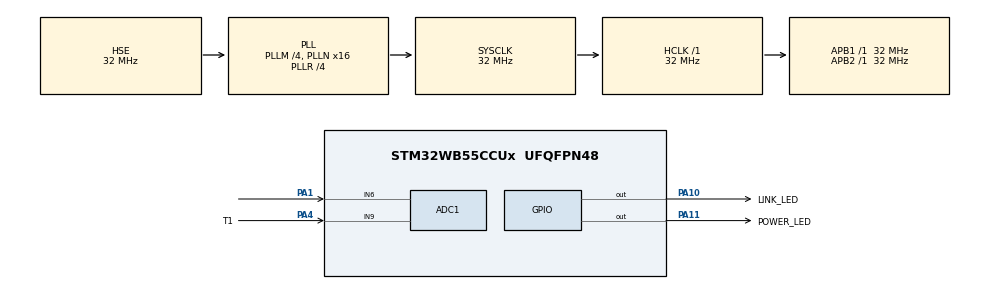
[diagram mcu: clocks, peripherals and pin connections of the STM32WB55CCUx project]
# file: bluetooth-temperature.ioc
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ADC1.Channel-1\#ChannelRegularConversion=ADC_CHANNEL_6
ADC1.Channel-2\#ChannelRegularConversion=ADC_CHANNEL_9
ADC1.ContinuousConvMode=DISABLE
ADC1.DMAContinuousRequests=ENABLE
ADC1.EOCSelection=ADC_EOC_SEQ_CONV
ADC1.ExternalTrigConv=ADC_SOFTWARE_START
ADC1.NbrOfConversion=2
ADC1.NbrOfConversionFlag=1
ADC1.OffsetNumber-1\#ChannelRegularConversion=ADC_OFFSET_NONE
ADC1.OffsetNumber-2\#ChannelRegularConversion=ADC_OFFSET_NONE
ADC1.Overrun=ADC_OVR_DATA_OVERWRITTEN
ADC1.Rank-1\#ChannelRegularConversion=1
ADC1.Rank-2\#ChannelRegularConversion=2
ADC1.SamplingTime-1\#ChannelRegularConversion=ADC_SAMPLETIME_640CYCLES_5
ADC1.SamplingTime-2\#ChannelRegularConversion=ADC_SAMPLETIME_640CYCLES_5
ADC1.master=1
Dma.ADC1.0.Direction=DMA_PERIPH_TO_MEMORY
Dma.ADC1.0.EventEnable=DISABLE
Dma.ADC1.0.Instance=DMA1_Channel1
Dma.ADC1.0.MemDataAlignment=DMA_MDATAALIGN_HALFWORD
Dma.ADC1.0.MemInc=DMA_MINC_ENABLE
Dma.ADC1.0.Mode=DMA_NORMAL
Dma.ADC1.0.PeriphDataAlignment=DMA_PDATAALIGN_HALFWORD
Dma.ADC1.0.PeriphInc=DMA_PINC_DISABLE
Dma.ADC1.0.Polarity=HAL_DMAMUX_REQ_GEN_RISING
Dma.ADC1.0.Priority=DMA_PRIORITY_LOW
Dma.ADC1.0.RequestNumber=1
Dma.ADC1.0.SignalID=NONE
Dma.ADC1.0.SyncEnable=DISABLE
Dma.ADC1.0.SyncPolarity=HAL_DMAMUX_SYNC_NO_EVENT
Dma.ADC1.0.SyncRequestNumber=1
Dma.ADC1.0.SyncSignalID=NONE
Dma.Request0=ADC1
LPTIM1.ClockPrescaler=LPTIM_PRESCALER_DIV32
Mcu.Family=STM32WB
Mcu.Name=STM32WB55CCUx
Mcu.Package=UFQFPN48
NVIC.DMA1_Channel1_IRQn=true\:0\:0\:false\:false\:true\:false\:true
NVIC.HSEM_IRQn=true\:0\:0\:false\:false\:true\:false\:true
NVIC.IPCC_C1_RX_IRQn=true\:0\:0\:false\:false\:true\:true\:true
NVIC.IPCC_C1_TX_IRQn=true\:0\:0\:false\:false\:true\:true\:true
NVIC.LPTIM1_IRQn=true\:0\:0\:false\:false\:true\:true\:true
NVIC.PriorityGroup=NVIC_PRIORITYGROUP_4
OSC_IN.Mode=HSE-External-Oscillator
OSC_IN.Signal=RCC_OSC_IN
OSC_OUT.Mode=HSE-External-Oscillator
OSC_OUT.Signal=RCC_OSC_OUT
PA1.Signal=ADCx_IN6
PA10.GPIO_Label=LINK_LED
PA10.Signal=GPIO_Output
PA11.GPIO_Label=POWER_LED
PA11.Signal=GPIO_Output
PA4.GPIO_Label=T1
PA4.Signal=ADCx_IN9
PA5.GPIO_Label=T2
PA5.Signal=ADCx_IN10
PA6.GPIO_Label=T3
PA6.Signal=ADCx_IN11
PA7.GPIO_Label=T4
PA7.Signal=ADCx_IN12
ProjectManager.HeapSize=0x200
ProjectManager.StackSize=0x400
ProjectManager.TargetToolchain=STM32CubeIDE
RCC.ADCFreq_Value=12000000
RCC.AHBFreq_Value=32000000
RCC.APB1Freq_Value=32000000
RCC.APB1TimFreq_Value=32000000
RCC.APB2Freq_Value=32000000
RCC.APB2TimFreq_Value=32000000
RCC.APB3Freq_Value=16000000
RCC.CortexFreq_Value=32000000
RCC.HCLKFreq_Value=32000000
RCC.HSE_VALUE=32000000
RCC.HSI48_VALUE=48000000
RCC.HSI_VALUE=16000000
RCC.LPTIM1CLockSelection=RCC_LPTIM1CLKSOURCE_LSI
RCC.LSE_VALUE=32768
RCC.PLLM=RCC_PLLM_DIV4
RCC.PLLN=16
RCC.PLLR=RCC_PLLR_DIV4
RCC.PLLSAI1N=12
RCC.PLLSAI1R=RCC_PLLR_DIV8
RCC.PLLSourceVirtual=RCC_PLLSOURCE_HSE
RCC.SMPSCLockSelectionVirtual=RCC_SMPSCLKSOURCE_HSE
RCC.SYSCLKFreq_VALUE=32000000
RCC.SYSCLKSource=RCC_SYSCLKSOURCE_PLLCLK
RCC.USBFreq_Value=48000000
RCC.VCOOutputFreq_Value=128000000
RF1.Mode=RF1_Activate
RF1.Signal=RF_RF1
SH.ADCx_IN10.0=ADC1_IN10
SH.ADCx_IN11.0=ADC1_IN11
SH.ADCx_IN12.0=ADC1_IN12
SH.ADCx_IN6.0=ADC1_IN6,IN6-Single-Ended
SH.ADCx_IN9.0=ADC1_IN9,IN9-Single-Ended
STM32_WPAN.BLE_APPLICATION_TYPE=BLE_SERVER_PROFILE
STM32_WPAN.BLE_CFG_SVC_MAX_NBR_CB=1
STM32_WPAN.BLE_STACK=FULL
STM32_WPAN.BT_SIG_BEACON=CFG_EDDYSTONE_TLM_BEACON_TYPE
STM32_WPAN.BT_SIG_HEALTH_THERMOMETER_SENSOR=Disabled
STM32_WPAN.CFG_ADV_BD_ADDRESS=0x7257acd87a6c
STM32_WPAN.CFG_BLE_LSE_SOURCE=1
STM32_WPAN.CFG_DEBUGGER_SUPPORTED=0
STM32_WPAN.CFG_LPM_SUPPORTED=1
STM32_WPAN.CFG_USE_SMPS=1
STM32_WPAN.CUSTOM_P2P_SERVER=Disabled
STM32_WPAN.CUSTOM_TEMPLATE=Disabled
STM32_WPAN.L2CAP_REQUEST_NEW_CONN_PARAM=1
STM32_WPAN.LOCAL_NAME=AWTMP04
STM32_WPAN.LOCAL_NAME_FORMATTED=,'A','W','T','M','P','0','4'
VP_HSEM_VS_HSEM.Mode=HSEM_Activate
VP_IPCC_VS_IPCC.Mode=IPCC_Activate
VP_LPTIM1_VS_LPTIM_counterModeInternalClock.Mode=Counts__internal_clock_event_00
VP_RTC_VS_RTC_Activate.Mode=RTC_Enabled
VP_SEQUENCER_VS_SEQUENCER.Mode=SEQUENCER_Enabled
VP_STM32_WPAN_VS_BLE_HOST.Mode=STM32_WPAN_Enabled
VP_TINY_LPM_VS_TINY_LPM.Mode=TINY_LPM_Enabled
board=custom

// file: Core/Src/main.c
/* USER CODE BEGIN Header */
/**
 ******************************************************************************
 * @file           : main.c
 * @brief          : Main program body
 ******************************************************************************
 * @attention
 *
 * <h2><center>&copy; Copyright (c) 2021 STMicroelectronics.
 * All rights reserved.</center></h2>
 *
 * This software component is licensed by ST under Ultimate Liberty license
 * SLA0044, the "License"; You may not use this file except in compliance with
 * the License. You may obtain a copy of the License at:
 *                             www.st.com/SLA0044
 *
 ******************************************************************************
 */
/* USER CODE END Header */
#include "main.h"

/* USER CODE BEGIN Includes */
#include "stm32_seq.h"
#include "otp.h"
/* USER CODE END Includes */

ADC_HandleTypeDef hadc1;
DMA_HandleTypeDef hdma_adc1;

IPCC_HandleTypeDef hipcc;

LPTIM_HandleTypeDef hlptim1;

RTC_HandleTypeDef hrtc;

/* USER CODE BEGIN PV */

const char *PHYSICAL_WEB_URL = "andybrown.me.uk";

/* USER CODE END PV */

void SystemClock_Config(void);
static void MX_GPIO_Init(void);
static void MX_DMA_Init(void);
static void MX_RF_Init(void);
static void MX_RTC_Init(void);
static void MX_IPCC_Init(void);
static void MX_ADC1_Init(void);
static void MX_LPTIM1_Init(void);
/* USER CODE BEGIN PFP */
static void Reset_Device(void);
static void Reset_IPCC(void);
static void Reset_BackupDomain(void);
static void Init_Exti(void);
static void Config_HSE(void);
/* USER CODE END PFP */

int main(void)
{
  /* USER CODE BEGIN 1 */
  /**
   * The OPTVERR flag is wrongly set at power on
   * It shall be cleared before using any HAL_FLASH_xxx() api
   */
  __HAL_FLASH_CLEAR_FLAG(FLASH_FLAG_OPTVERR);

  /* USER CODE END 1 */

  /* MCU Configuration--------------------------------------------------------*/

  /* Reset of all peripherals, Initializes the Flash interface and the Systick. */
  HAL_Init();

  /* USER CODE BEGIN Init */
  Reset_Device();
  Config_HSE();
  /* USER CODE END Init */

  /* Configure the system clock */
  SystemClock_Config();

  /* IPCC initialisation */
   MX_IPCC_Init();

  /* USER CODE BEGIN SysInit */
  Init_Exti(); /**< Configure the system Power Mode */
  /* USER CODE END SysInit */

  /* Initialize all configured peripherals */
  MX_GPIO_Init();
  MX_DMA_Init();
  MX_RF_Init();
  MX_RTC_Init();
  MX_ADC1_Init();
  MX_LPTIM1_Init();
  /* USER CODE BEGIN 2 */

  // start the 10 second battery indicator timer
  HAL_LPTIM_TimeOut_Start_IT(&hlptim1, 10000 - 1, 10000 - 1);

  /* USER CODE END 2 */

  /* Init code for STM32_WPAN */
  APPE_Init();
  /* Infinite loop */
  /* USER CODE BEGIN WHILE */
  while (1) {
    UTIL_SEQ_Run(UTIL_SEQ_DEFAULT);
    /* USER CODE END WHILE */

  }
}

void SystemClock_Config(void)
{
  RCC_OscInitTypeDef RCC_OscInitStruct = {0};
  RCC_ClkInitTypeDef RCC_ClkInitStruct = {0};
  RCC_PeriphCLKInitTypeDef PeriphClkInitStruct = {0};

  /** Configure the main internal regulator output voltage
  */
  __HAL_PWR_VOLTAGESCALING_CONFIG(PWR_REGULATOR_VOLTAGE_SCALE1);
  /** Initializes the RCC Oscillators according to the specified parameters
  * in the RCC_OscInitTypeDef structure.
  */
  RCC_OscInitStruct.OscillatorType = RCC_OSCILLATORTYPE_HSI|RCC_OSCILLATORTYPE_LSI1
                              |RCC_OSCILLATORTYPE_HSE;
  RCC_OscInitStruct.HSEState = RCC_HSE_ON;
  RCC_OscInitStruct.HSIState = RCC_HSI_ON;
  RCC_OscInitStruct.HSICalibrationValue = RCC_HSICALIBRATION_DEFAULT;
  RCC_OscInitStruct.LSIState = RCC_LSI_ON;
  RCC_OscInitStruct.PLL.PLLState = RCC_PLL_ON;
  RCC_OscInitStruct.PLL.PLLSource = RCC_PLLSOURCE_HSE;
  RCC_OscInitStruct.PLL.PLLM = RCC_PLLM_DIV4;
  RCC_OscInitStruct.PLL.PLLN = 16;
  RCC_OscInitStruct.PLL.PLLP = RCC_PLLP_DIV2;
  RCC_OscInitStruct.PLL.PLLR = RCC_PLLR_DIV4;
  RCC_OscInitStruct.PLL.PLLQ = RCC_PLLQ_DIV2;
  if (HAL_RCC_OscConfig(&RCC_OscInitStruct) != HAL_OK)
  {
    Error_Handler();
  }
  /** Configure the SYSCLKSource, HCLK, PCLK1 and PCLK2 clocks dividers
  */
  RCC_ClkInitStruct.ClockType = RCC_CLOCKTYPE_HCLK4|RCC_CLOCKTYPE_HCLK2
                              |RCC_CLOCKTYPE_HCLK|RCC_CLOCKTYPE_SYSCLK
                              |RCC_CLOCKTYPE_PCLK1|RCC_CLOCKTYPE_PCLK2;
  RCC_ClkInitStruct.SYSCLKSource = RCC_SYSCLKSOURCE_PLLCLK;
  RCC_ClkInitStruct.AHBCLKDivider = RCC_SYSCLK_DIV1;
  RCC_ClkInitStruct.APB1CLKDivider = RCC_HCLK_DIV1;
  RCC_ClkInitStruct.APB2CLKDivider = RCC_HCLK_DIV1;
  RCC_ClkInitStruct.AHBCLK2Divider = RCC_SYSCLK_DIV1;
  RCC_ClkInitStruct.AHBCLK4Divider = RCC_SYSCLK_DIV1;

  if (HAL_RCC_ClockConfig(&RCC_ClkInitStruct, FLASH_LATENCY_1) != HAL_OK)
  {
    Error_Handler();
  }
  /** Initializes the peripherals clocks
  */
  PeriphClkInitStruct.PeriphClockSelection = RCC_PERIPHCLK_SMPS|RCC_PERIPHCLK_RFWAKEUP
                              |RCC_PERIPHCLK_RTC|RCC_PERIPHCLK_LPTIM1
                              |RCC_PERIPHCLK_ADC;
  PeriphClkInitStruct.PLLSAI1.PLLN = 12;
  PeriphClkInitStruct.PLLSAI1.PLLP = RCC_PLLP_DIV2;
  PeriphClkInitStruct.PLLSAI1.PLLQ = RCC_PLLQ_DIV2;
  PeriphClkInitStruct.PLLSAI1.PLLR = RCC_PLLR_DIV8;
  PeriphClkInitStruct.PLLSAI1.PLLSAI1ClockOut = RCC_PLLSAI1_ADCCLK;
  PeriphClkInitStruct.Lptim1ClockSelection = RCC_LPTIM1CLKSOURCE_LSI;
  PeriphClkInitStruct.AdcClockSelection = RCC_ADCCLKSOURCE_PLLSAI1;
  PeriphClkInitStruct.RTCClockSelection = RCC_RTCCLKSOURCE_LSI;
  PeriphClkInitStruct.RFWakeUpClockSelection = RCC_RFWKPCLKSOURCE_HSE_DIV1024;
  PeriphClkInitStruct.SmpsClockSelection = RCC_SMPSCLKSOURCE_HSE;
  PeriphClkInitStruct.SmpsDivSelection = RCC_SMPSCLKDIV_RANGE0;
  if (HAL_RCCEx_PeriphCLKConfig(&PeriphClkInitStruct) != HAL_OK)
  {
    Error_Handler();
  }
}

static void MX_ADC1_Init(void)
{

  ADC_ChannelConfTypeDef sConfig = {0};

  /** Common config
  */
  hadc1.Instance = ADC1;
  hadc1.Init.ClockPrescaler = ADC_CLOCK_ASYNC_DIV1;
  hadc1.Init.Resolution = ADC_RESOLUTION_12B;
  hadc1.Init.DataAlign = ADC_DATAALIGN_RIGHT;
  hadc1.Init.ScanConvMode = ADC_SCAN_ENABLE;
  hadc1.Init.EOCSelection = ADC_EOC_SEQ_CONV;
  hadc1.Init.LowPowerAutoWait = DISABLE;
  hadc1.Init.ContinuousConvMode = DISABLE;
  hadc1.Init.NbrOfConversion = 2;
  hadc1.Init.DiscontinuousConvMode = DISABLE;
  hadc1.Init.ExternalTrigConv = ADC_SOFTWARE_START;
  hadc1.Init.ExternalTrigConvEdge = ADC_EXTERNALTRIGCONVEDGE_NONE;
  hadc1.Init.DMAContinuousRequests = ENABLE;
  hadc1.Init.Overrun = ADC_OVR_DATA_OVERWRITTEN;
  hadc1.Init.OversamplingMode = DISABLE;
  if (HAL_ADC_Init(&hadc1) != HAL_OK)
  {
    Error_Handler();
  }
  /** Configure Regular Channel
  */
  sConfig.Channel = ADC_CHANNEL_6;
  sConfig.Rank = ADC_REGULAR_RANK_1;
  sConfig.SamplingTime = ADC_SAMPLETIME_640CYCLES_5;
  sConfig.SingleDiff = ADC_SINGLE_ENDED;
  sConfig.OffsetNumber = ADC_OFFSET_NONE;
  sConfig.Offset = 0;
  if (HAL_ADC_ConfigChannel(&hadc1, &sConfig) != HAL_OK)
  {
    Error_Handler();
  }
  /** Configure Regular Channel
  */
  sConfig.Channel = ADC_CHANNEL_9;
  sConfig.Rank = ADC_REGULAR_RANK_2;
  if (HAL_ADC_ConfigChannel(&hadc1, &sConfig) != HAL_OK)
  {
    Error_Handler();
  }
  /* USER CODE BEGIN ADC1_Init 2 */

  // calibrate the ADC
  HAL_ADCEx_Calibration_Start(&hadc1, ADC_SINGLE_ENDED);

  /* USER CODE END ADC1_Init 2 */

}

static void MX_IPCC_Init(void)
{

  hipcc.Instance = IPCC;
  if (HAL_IPCC_Init(&hipcc) != HAL_OK)
  {
    Error_Handler();
  }

}

static void MX_LPTIM1_Init(void)
{

  hlptim1.Instance = LPTIM1;
  hlptim1.Init.Clock.Source = LPTIM_CLOCKSOURCE_APBCLOCK_LPOSC;
  hlptim1.Init.Clock.Prescaler = LPTIM_PRESCALER_DIV32;
  hlptim1.Init.Trigger.Source = LPTIM_TRIGSOURCE_SOFTWARE;
  hlptim1.Init.OutputPolarity = LPTIM_OUTPUTPOLARITY_HIGH;
  hlptim1.Init.UpdateMode = LPTIM_UPDATE_IMMEDIATE;
  hlptim1.Init.CounterSource = LPTIM_COUNTERSOURCE_INTERNAL;
  hlptim1.Init.Input1Source = LPTIM_INPUT1SOURCE_GPIO;
  hlptim1.Init.Input2Source = LPTIM_INPUT2SOURCE_GPIO;
  if (HAL_LPTIM_Init(&hlptim1) != HAL_OK)
  {
    Error_Handler();
  }

}

static void MX_RF_Init(void)
{

}

static void MX_RTC_Init(void)
{

  /** Initialize RTC Only
  */
  hrtc.Instance = RTC;
  hrtc.Init.HourFormat = RTC_HOURFORMAT_24;
  hrtc.Init.AsynchPrediv = CFG_RTC_ASYNCH_PRESCALER;
  hrtc.Init.SynchPrediv = CFG_RTC_SYNCH_PRESCALER;
  hrtc.Init.OutPut = RTC_OUTPUT_DISABLE;
  hrtc.Init.OutPutPolarity = RTC_OUTPUT_POLARITY_HIGH;
  hrtc.Init.OutPutType = RTC_OUTPUT_TYPE_OPENDRAIN;
  hrtc.Init.OutPutRemap = RTC_OUTPUT_REMAP_NONE;
  if (HAL_RTC_Init(&hrtc) != HAL_OK)
  {
    Error_Handler();
  }

}

static void MX_DMA_Init(void)
{

  /* DMA controller clock enable */
  __HAL_RCC_DMAMUX1_CLK_ENABLE();
  __HAL_RCC_DMA1_CLK_ENABLE();

  /* DMA interrupt init */
  /* DMA1_Channel1_IRQn interrupt configuration */
  HAL_NVIC_SetPriority(DMA1_Channel1_IRQn, 0, 0);
  HAL_NVIC_EnableIRQ(DMA1_Channel1_IRQn);

}

static void MX_GPIO_Init(void)
{
  GPIO_InitTypeDef GPIO_InitStruct = {0};

  /* GPIO Ports Clock Enable */
  __HAL_RCC_GPIOA_CLK_ENABLE();

  /*Configure GPIO pin Output Level */
  HAL_GPIO_WritePin(GPIOA, LINK_LED_Pin|POWER_LED_Pin, GPIO_PIN_RESET);

  /*Configure GPIO pins : LINK_LED_Pin POWER_LED_Pin */
  GPIO_InitStruct.Pin = LINK_LED_Pin|POWER_LED_Pin;
  GPIO_InitStruct.Mode = GPIO_MODE_OUTPUT_PP;
  GPIO_InitStruct.Pull = GPIO_NOPULL;
  GPIO_InitStruct.Speed = GPIO_SPEED_FREQ_LOW;
  HAL_GPIO_Init(GPIOA, &GPIO_InitStruct);

}

/* USER CODE BEGIN 4 */

/*
 * A timer period has elapsed - we care about LPTIM1 ticking here.
 */

void HAL_LPTIM_CompareMatchCallback(LPTIM_HandleTypeDef *hlptim) {

  // ensure we react to LPTIM1

  if (hlptim != &hlptim1) {
    return;
  }

  uint32_t newTimeout;

  // The timer is ticking at 1kHz. We aim to pulse the power led on for 0.1s every 10s. Note that changes
  // to ARR don't take effect until the next update so the values we set are inverted to what you expect.

  if ((POWER_LED_GPIO_Port->ODR & POWER_LED_Pin) != 0) {

    // the LED is on, turn it off and come back in 10 seconds

    HAL_GPIO_WritePin(POWER_LED_GPIO_Port, POWER_LED_Pin, GPIO_PIN_RESET);
    newTimeout = 10000 - 1;
  } else {

    // the LED is off, turn it on and come back in 0.1s

    HAL_GPIO_WritePin(POWER_LED_GPIO_Port, POWER_LED_Pin, GPIO_PIN_SET);
    newTimeout = 100 - 1;
  }

  hlptim->Instance->CMP = newTimeout;
}

static void Config_HSE(void) {
  OTP_ID0_t *p_otp;

  /**
   * Read HSE_Tuning from OTP
   */
  p_otp = (OTP_ID0_t*) OTP_Read(0);
  if (p_otp) {
    LL_RCC_HSE_SetCapacitorTuning(p_otp->hse_tuning);
  }

  return;
}

static void Reset_Device(void) {
#if ( CFG_HW_RESET_BY_FW == 1 )
  Reset_BackupDomain();

  Reset_IPCC();
#endif

  return;
}

static void Reset_IPCC(void) {
  LL_AHB3_GRP1_EnableClock(LL_AHB3_GRP1_PERIPH_IPCC);

  LL_C1_IPCC_ClearFlag_CHx(
  IPCC,
  LL_IPCC_CHANNEL_1 | LL_IPCC_CHANNEL_2 | LL_IPCC_CHANNEL_3 | LL_IPCC_CHANNEL_4 | LL_IPCC_CHANNEL_5
      | LL_IPCC_CHANNEL_6);

  LL_C2_IPCC_ClearFlag_CHx(
  IPCC,
  LL_IPCC_CHANNEL_1 | LL_IPCC_CHANNEL_2 | LL_IPCC_CHANNEL_3 | LL_IPCC_CHANNEL_4 | LL_IPCC_CHANNEL_5
      | LL_IPCC_CHANNEL_6);

  LL_C1_IPCC_DisableTransmitChannel(
  IPCC,
  LL_IPCC_CHANNEL_1 | LL_IPCC_CHANNEL_2 | LL_IPCC_CHANNEL_3 | LL_IPCC_CHANNEL_4 | LL_IPCC_CHANNEL_5
      | LL_IPCC_CHANNEL_6);

  LL_C2_IPCC_DisableTransmitChannel(
  IPCC,
  LL_IPCC_CHANNEL_1 | LL_IPCC_CHANNEL_2 | LL_IPCC_CHANNEL_3 | LL_IPCC_CHANNEL_4 | LL_IPCC_CHANNEL_5
      | LL_IPCC_CHANNEL_6);

  LL_C1_IPCC_DisableReceiveChannel(
  IPCC,
  LL_IPCC_CHANNEL_1 | LL_IPCC_CHANNEL_2 | LL_IPCC_CHANNEL_3 | LL_IPCC_CHANNEL_4 | LL_IPCC_CHANNEL_5
      | LL_IPCC_CHANNEL_6);

  LL_C2_IPCC_DisableReceiveChannel(
  IPCC,
  LL_IPCC_CHANNEL_1 | LL_IPCC_CHANNEL_2 | LL_IPCC_CHANNEL_3 | LL_IPCC_CHANNEL_4 | LL_IPCC_CHANNEL_5
      | LL_IPCC_CHANNEL_6);

  return;
}

static void Reset_BackupDomain(void) {
  if ((LL_RCC_IsActiveFlag_PINRST() != FALSE) && (LL_RCC_IsActiveFlag_SFTRST() == FALSE)) {
    HAL_PWR_EnableBkUpAccess(); /**< Enable access to the RTC registers */

    /**
     *  Write twice the value to flush the APB-AHB bridge
     *  This bit shall be written in the register before writing the next one
     */
    HAL_PWR_EnableBkUpAccess();

    __HAL_RCC_BACKUPRESET_FORCE();
    __HAL_RCC_BACKUPRESET_RELEASE();
  }

  return;
}

static void Init_Exti(void) {
  /**< Disable all wakeup interrupt on CPU1  except IPCC(36), HSEM(38) */
  LL_EXTI_DisableIT_0_31(~0);
  LL_EXTI_DisableIT_32_63((~0) & (~(LL_EXTI_LINE_36 | LL_EXTI_LINE_38)));

  return;
}

/*
 * This is a power-optimised version of the classic HAL_Delay() function that uses
 * "wfi" to go into sleep mode until interrupted, which SysTick will do every 1ms.
 */

void HAL_Delay(uint32_t Delay) {

  uint32_t tickstart = HAL_GetTick();
  uint32_t wait = Delay;

  /* Add a freq to guarantee minimum wait */
  if (wait < HAL_MAX_DELAY) {
    wait += HAL_GetTickFreq();
  }

  while ((HAL_GetTick() - tickstart) < wait) {
    /************************************************************************************
     * ENTER SLEEP MODE
     ***********************************************************************************/
    LL_LPM_EnableSleep(); /**< Clear SLEEPDEEP bit of Cortex System Control Register */

    /**
     * This option is used to ensure that store operations are completed
     */
#if defined ( __CC_ARM)
    __force_stores();
  #endif

    __WFI();
  }
}

/* USER CODE END 4 */

void Error_Handler(void)
{
  __disable_irq();
  while (1) {
  }
}

/************************ (C) COPYRIGHT STMicroelectronics *****END OF FILE****/
